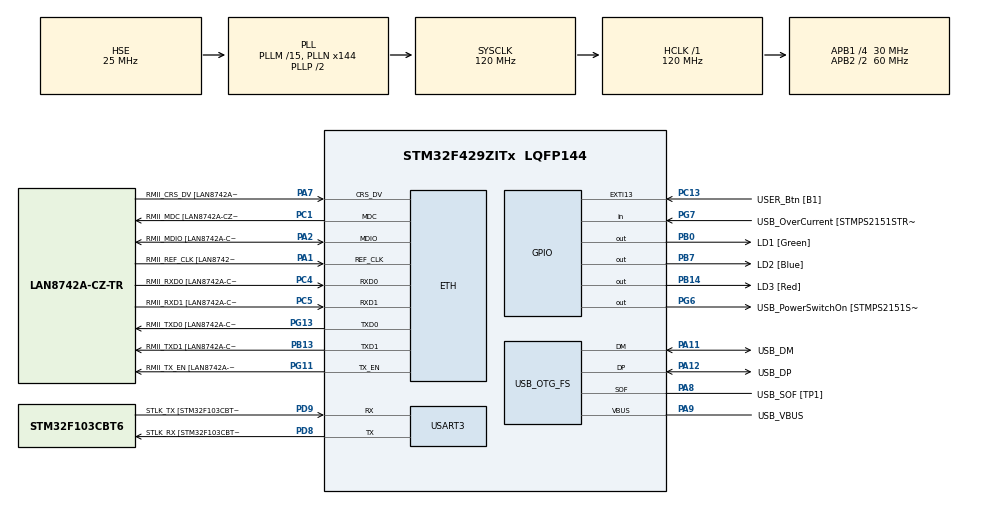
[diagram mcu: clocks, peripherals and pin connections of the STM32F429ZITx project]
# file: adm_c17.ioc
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ETH.MediaInterface=HAL_ETH_RMII_MODE
ETH.PHY_Name=LAN8742A_PHY_ADDRESS
ETH.PHY_Value=0
ETH.PhyAddress=0
Mcu.Family=STM32F4
Mcu.Name=STM32F429ZITx
Mcu.Package=LQFP144
NVIC.PriorityGroup=NVIC_PRIORITYGROUP_4
PA0/WKUP.Mode=SYS_WakeUp0
PA0/WKUP.Signal=SYS_WKUP
PA1.GPIO_Label=RMII_REF_CLK [LAN8742A-CZ-TR_REFCLK0]
PA1.Mode=RMII
PA1.Signal=ETH_REF_CLK
PA10.GPIO_Label=USB_ID
PA10.Signal=USB_OTG_FS_ID
PA11.GPIO_Label=USB_DM
PA11.Mode=Device_Only
PA11.Signal=USB_OTG_FS_DM
PA12.GPIO_Label=USB_DP
PA12.Mode=Device_Only
PA12.Signal=USB_OTG_FS_DP
PA13.GPIO_Label=TMS
PA13.Mode=Serial_Wire
PA13.Signal=SYS_JTMS-SWDIO
PA14.GPIO_Label=TCK
PA14.Mode=Serial_Wire
PA14.Signal=SYS_JTCK-SWCLK
PA2.GPIO_Label=RMII_MDIO [LAN8742A-CZ-TR_MDIO]
PA2.Mode=RMII
PA2.Signal=ETH_MDIO
PA7.GPIO_Label=RMII_CRS_DV [LAN8742A-CZ-TR_CRS_DV]
PA7.Mode=RMII
PA7.Signal=ETH_CRS_DV
PA8.GPIO_Label=USB_SOF [TP1]
PA8.Mode=Activate_SOF_FS
PA8.Signal=USB_OTG_FS_SOF
PA9.GPIO_Label=USB_VBUS
PA9.Mode=Activate_VBUS
PA9.Signal=USB_OTG_FS_VBUS
PB0.GPIO_Label=LD1 [Green]
PB0.Signal=GPIO_Output
PB13.GPIO_Label=RMII_TXD1 [LAN8742A-CZ-TR_TXD1]
PB13.Mode=RMII
PB13.Signal=ETH_TXD1
PB14.GPIO_Label=LD3 [Red]
PB14.Signal=GPIO_Output
PB7.GPIO_Label=LD2 [Blue]
PB7.Signal=GPIO_Output
PC1.GPIO_Label=RMII_MDC [LAN8742A-CZ-TR_MDC]
PC1.Mode=RMII
PC1.Signal=ETH_MDC
PC13.GPIO_Label=USER_Btn [B1]
PC13.Signal=GPXTI13
PC14/OSC32_IN.Mode=LSE-External-Oscillator
PC14/OSC32_IN.Signal=RCC_OSC32_IN
PC15/OSC32_OUT.Mode=LSE-External-Oscillator
PC15/OSC32_OUT.Signal=RCC_OSC32_OUT
PC4.GPIO_Label=RMII_RXD0 [LAN8742A-CZ-TR_RXD0]
PC4.Mode=RMII
PC4.Signal=ETH_RXD0
PC5.GPIO_Label=RMII_RXD1 [LAN8742A-CZ-TR_RXD1]
PC5.Mode=RMII
PC5.Signal=ETH_RXD1
PD8.GPIO_Label=STLK_RX [STM32F103CBT6_PA3]
PD8.Mode=Asynchronous
PD8.Signal=USART3_TX
PD9.GPIO_Label=STLK_TX [STM32F103CBT6_PA2]
PD9.Mode=Asynchronous
PD9.Signal=USART3_RX
PG11.GPIO_Label=RMII_TX_EN [LAN8742A-CZ-TR_TXEN]
PG11.Mode=RMII
PG11.Signal=ETH_TX_EN
PG13.GPIO_Label=RMII_TXD0 [LAN8742A-CZ-TR_TXD0]
PG13.Mode=RMII
PG13.Signal=ETH_TXD0
PG6.GPIO_Label=USB_PowerSwitchOn [STMPS2151STR_EN]
PG6.Signal=GPIO_Output
PG7.GPIO_Label=USB_OverCurrent [STMPS2151STR_FAULT]
PG7.Signal=GPIO_Input
PH0/OSC_IN.Mode=HSE-External-Clock-Source
PH0/OSC_IN.Signal=RCC_OSC_IN
PH1/OSC_OUT.Mode=HSE-External-Clock-Source
PH1/OSC_OUT.Signal=RCC_OSC_OUT
ProjectManager.HeapSize=0x200
ProjectManager.StackSize=0x400
ProjectManager.TargetToolchain=STM32CubeIDE
RCC.48MHZClocksFreq_Value=48000000
RCC.AHBFreq_Value=120000000
RCC.APB1CLKDivider=RCC_HCLK_DIV4
RCC.APB1Freq_Value=30000000
RCC.APB1TimFreq_Value=60000000
RCC.APB2CLKDivider=RCC_HCLK_DIV2
RCC.APB2Freq_Value=60000000
RCC.APB2TimFreq_Value=120000000
RCC.CortexFreq_Value=120000000
RCC.HCLKFreq_Value=120000000
RCC.HSE_VALUE=25000000
RCC.HSI_VALUE=16000000
RCC.PLLM=15
RCC.PLLN=144
RCC.PLLQ=5
RCC.SYSCLKFreq_VALUE=120000000
RCC.SYSCLKSource=RCC_SYSCLKSOURCE_PLLCLK
RCC.VCOOutputFreq_Value=240000000
USART3.VirtualMode=VM_ASYNC
USB_OTG_FS.VirtualMode=Device_Only
board=NUCLEO-F429ZI

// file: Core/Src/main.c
/* USER CODE BEGIN Header */
/**
  ******************************************************************************
  * @file           : main.c
  * @brief          : Main program body
  ******************************************************************************
  * @attention
  *
  * Copyright (c) 2022 STMicroelectronics.
  * All rights reserved.
  *
  * This software is licensed under terms that can be found in the LICENSE file
  * in the root directory of this software component.
  * If no LICENSE file comes with this software, it is provided AS-IS.
  *
  ******************************************************************************
  */
/* USER CODE END Header */
#include "main.h"
#include "string.h"

/* USER CODE BEGIN Includes */
#include "asm_func.h"
#include "ejercicios.h"

/* USER CODE END Includes */

ETH_TxPacketConfig TxConfig;
ETH_DMADescTypeDef  DMARxDscrTab[ETH_RX_DESC_CNT]; /* Ethernet Rx DMA Descriptors */
ETH_DMADescTypeDef  DMATxDscrTab[ETH_TX_DESC_CNT]; /* Ethernet Tx DMA Descriptors */

 ETH_HandleTypeDef heth;

UART_HandleTypeDef huart3;

PCD_HandleTypeDef hpcd_USB_OTG_FS;

void SystemClock_Config(void);
static void MX_GPIO_Init(void);
static void MX_ETH_Init(void);
static void MX_USART3_UART_Init(void);
static void MX_USB_OTG_FS_PCD_Init(void);

/* USER CODE BEGIN 0 */
static void PrivilegiosSVC (void)
{
    // Obtiene valor del registro de 32 bits del procesador llamado "control".
    // El registro guarda los siguientes estados:
    // bit 2: Uso de FPU en el contexto actual. Usado=1, no usado=0.
    // bit 1: Mapeo del stack pointer(sp). MSP=0, PSP=1.
    // bit 0: Modo de ejecucion en Thread. Privilegiado=0, No privilegiado=1.
    //        Recordar que este valor solo se usa en modo Thread. Las
    //        interrupciones siempre se ejecutan en modo Handler con total
    //        privilegio.
    uint32_t x = __get_CONTROL ();

    // Actividad de debug: Ver registro "control" y valor de variable "x".
    //__BKPT (0);

    x |= 1;
    // bit 0 a modo No privilegiado.
    __set_CONTROL (x);

    // En este punto se estaria ejecutando en modo No privilegiado.
    // Lectura del registro "control" para confirmar.
    x = __get_CONTROL ();

    // Actividad de debug: Ver registro "control" y valor de variable "x".
    //__BKPT (0);

    x &= ~1u;
    // Se intenta volver a modo Privilegiado (bit 0, valor 0).
    __set_CONTROL (x);

    // Confirma que esta operacion es ignorada por estar ejecutandose en modo
    // Thread no privilegiado.
    x = __get_CONTROL ();

    // Actividad de debug: Ver registro "control" y valor de variable "x".
    //__BKPT (0);

    // En este punto, ejecutando en modo Thread no privilegiado, la unica forma
    // de volver a modo privilegiado o de realizar cualquier cambio que requiera
    // modo privilegiado, es pidiendo ese servicio a un hipotetico sistema
    // opertivo de tiempo real.
    // Para esto se invoca por software a la interrupcion SVC (Supervisor Call)
    // utilizando la instruccion "svc".
    // No hay intrinsics para realizar esta tarea. Para utilizar la instruccion
    // es necesario implementar una funcion en assembler. Ver el archivo
    // asm_func.S.
    asm_svc ();

    // El sistema operativo (el handler de SVC) deberia haber devuelto el modo
    // de ejecucion de Thread a privilegiado (bit 0 en valor 0).
    x = __get_CONTROL ();

    // Fin del ejemplo de SVC
}
/* USER CODE END 0 */

int main(void)
{
  /* USER CODE BEGIN 1 */
	  /* USER CODE BEGIN 1 */
	   uint32_t escalar_test = 45 ;
	   /// vectores de entrada para los test !
	   // para uso con memcpy  en algunos casos puntuales !
	   uint32_t vector_relleno_32[3] = {20 ,21,22} ;
	   uint16_t vector_relleno_16[3] = {20,21,22} ;

	   uint32_t vector_in_test_c_32  [3] ={0xFFFFFFFF,21,22 } ;
	   uint32_t vector_out_test_c_32 [3] ;
	   uint32_t vector_in_test_asm_32  [3] ={0xFFFFFFFF,21,22 } ;
	   uint32_t vector_out_test_asm_32 [3] ;

	   uint16_t vector_in_test_c_16 [3] = {0xFFFF ,21,33} ;
	   uint16_t vector_out_test_c_16 [3] ;
	   uint16_t vector_in_test_asm_16 [3] = {0xFFFF,21,33} ;
	   uint16_t vector_out_test_asm_16[3]  ;

	   int32_t pack32_16[3] = {-5, 65600,4122 } ;
	   int16_t pack16[3] ,pack16_asm[3];
	   int32_t vector_max [10] = {1,2,3,45,32,44,33,22,22,11 } ;
	   uint32_t ind_max ;
	   /* USER CODE END 1 */

  /* USER CODE END 1 */

  /* MCU Configuration--------------------------------------------------------*/

  /* Reset of all peripherals, Initializes the Flash interface and the Systick. */
  HAL_Init();

  /* Configure the system clock */
  SystemClock_Config();

  /* Initialize all configured peripherals */
  MX_GPIO_Init();
  MX_ETH_Init();
  MX_USART3_UART_Init();
  MX_USB_OTG_FS_PCD_Init();
  /* USER CODE BEGIN 2 */
  PrivilegiosSVC ();
  // ejercicio 1
  asm_zeros(vector_out_test_asm_32, 3) ;
  zeros(vector_out_test_c_32, 3) ;
  // fin ejercicio 1
  /// ejercicio 2
  asm_productoEscalar32(vector_in_test_asm_32, vector_out_test_asm_32, 3, escalar_test) ;
  productoEscalar32(vector_in_test_c_32, vector_out_test_c_32, 3, escalar_test) ;
  /// fin ejercicio 2
  /// ejercicio 3
  productoEscalar16(vector_in_test_c_16, vector_out_test_c_16, 3, escalar_test) ;
  asm_productoEscalar16(vector_in_test_asm_16,vector_out_test_asm_16, 3,escalar_test ) ;
  /// fin ejercicio 3
  /// ejercicio 4
  productoEscalar12(vector_in_test_c_16, vector_out_test_c_16, 3, escalar_test) ;
  asm_productoEscalar12(vector_in_test_c_16, vector_out_test_c_16, 3, escalar_test) ;

  /// fin ejercicio 4
  /// ejercicio 5
  ///
  ///

  /// fin ejercicio 5
  /// ejercicio 6
  pack32to16 (pack32_16, pack16, 3);
  asm_pack32to16 (pack32_16, pack16_asm, 3);

  ///fin ejercicio 6
  /// ejercicio 7
  ind_max     = max(vector_max,10) ;
  ind_max_asm = asm_max(vector_max,10)  ;

  /// fin ejercicio 7

  /* USER CODE END 2 */

  /* Infinite loop */
  while (1)
  {

  }
}

void SystemClock_Config(void)
{
  RCC_OscInitTypeDef RCC_OscInitStruct = {0};
  RCC_ClkInitTypeDef RCC_ClkInitStruct = {0};

  /** Configure the main internal regulator output voltage
  */
  __HAL_RCC_PWR_CLK_ENABLE();
  __HAL_PWR_VOLTAGESCALING_CONFIG(PWR_REGULATOR_VOLTAGE_SCALE3);

  /** Initializes the RCC Oscillators according to the specified parameters
  * in the RCC_OscInitTypeDef structure.
  */
  RCC_OscInitStruct.OscillatorType = RCC_OSCILLATORTYPE_HSE;
  RCC_OscInitStruct.HSEState = RCC_HSE_BYPASS;
  RCC_OscInitStruct.PLL.PLLState = RCC_PLL_ON;
  RCC_OscInitStruct.PLL.PLLSource = RCC_PLLSOURCE_HSE;
  RCC_OscInitStruct.PLL.PLLM = 15;
  RCC_OscInitStruct.PLL.PLLN = 144;
  RCC_OscInitStruct.PLL.PLLP = RCC_PLLP_DIV2;
  RCC_OscInitStruct.PLL.PLLQ = 5;
  if (HAL_RCC_OscConfig(&RCC_OscInitStruct) != HAL_OK)
  {
    Error_Handler();
  }

  /** Initializes the CPU, AHB and APB buses clocks
  */
  RCC_ClkInitStruct.ClockType = RCC_CLOCKTYPE_HCLK|RCC_CLOCKTYPE_SYSCLK
                              |RCC_CLOCKTYPE_PCLK1|RCC_CLOCKTYPE_PCLK2;
  RCC_ClkInitStruct.SYSCLKSource = RCC_SYSCLKSOURCE_PLLCLK;
  RCC_ClkInitStruct.AHBCLKDivider = RCC_SYSCLK_DIV1;
  RCC_ClkInitStruct.APB1CLKDivider = RCC_HCLK_DIV4;
  RCC_ClkInitStruct.APB2CLKDivider = RCC_HCLK_DIV2;

  if (HAL_RCC_ClockConfig(&RCC_ClkInitStruct, FLASH_LATENCY_3) != HAL_OK)
  {
    Error_Handler();
  }
}

static void MX_ETH_Init(void)
{

   static uint8_t MACAddr[6];

  heth.Instance = ETH;
  MACAddr[0] = 0x00;
  MACAddr[1] = 0x80;
  MACAddr[2] = 0xE1;
  MACAddr[3] = 0x00;
  MACAddr[4] = 0x00;
  MACAddr[5] = 0x00;
  heth.Init.MACAddr = &MACAddr[0];
  heth.Init.MediaInterface = HAL_ETH_RMII_MODE;
  heth.Init.TxDesc = DMATxDscrTab;
  heth.Init.RxDesc = DMARxDscrTab;
  heth.Init.RxBuffLen = 1524;

  if (HAL_ETH_Init(&heth) != HAL_OK)
  {
    Error_Handler();
  }

  memset(&TxConfig, 0 , sizeof(ETH_TxPacketConfig));
  TxConfig.Attributes = ETH_TX_PACKETS_FEATURES_CSUM | ETH_TX_PACKETS_FEATURES_CRCPAD;
  TxConfig.ChecksumCtrl = ETH_CHECKSUM_IPHDR_PAYLOAD_INSERT_PHDR_CALC;
  TxConfig.CRCPadCtrl = ETH_CRC_PAD_INSERT;

}

static void MX_USART3_UART_Init(void)
{

  huart3.Instance = USART3;
  huart3.Init.BaudRate = 115200;
  huart3.Init.WordLength = UART_WORDLENGTH_8B;
  huart3.Init.StopBits = UART_STOPBITS_1;
  huart3.Init.Parity = UART_PARITY_NONE;
  huart3.Init.Mode = UART_MODE_TX_RX;
  huart3.Init.HwFlowCtl = UART_HWCONTROL_NONE;
  huart3.Init.OverSampling = UART_OVERSAMPLING_16;
  if (HAL_UART_Init(&huart3) != HAL_OK)
  {
    Error_Handler();
  }

}

static void MX_USB_OTG_FS_PCD_Init(void)
{

  hpcd_USB_OTG_FS.Instance = USB_OTG_FS;
  hpcd_USB_OTG_FS.Init.dev_endpoints = 4;
  hpcd_USB_OTG_FS.Init.speed = PCD_SPEED_FULL;
  hpcd_USB_OTG_FS.Init.dma_enable = DISABLE;
  hpcd_USB_OTG_FS.Init.phy_itface = PCD_PHY_EMBEDDED;
  hpcd_USB_OTG_FS.Init.Sof_enable = ENABLE;
  hpcd_USB_OTG_FS.Init.low_power_enable = DISABLE;
  hpcd_USB_OTG_FS.Init.lpm_enable = DISABLE;
  hpcd_USB_OTG_FS.Init.vbus_sensing_enable = ENABLE;
  hpcd_USB_OTG_FS.Init.use_dedicated_ep1 = DISABLE;
  if (HAL_PCD_Init(&hpcd_USB_OTG_FS) != HAL_OK)
  {
    Error_Handler();
  }

}

static void MX_GPIO_Init(void)
{
  GPIO_InitTypeDef GPIO_InitStruct = {0};

  /* GPIO Ports Clock Enable */
  __HAL_RCC_GPIOC_CLK_ENABLE();
  __HAL_RCC_GPIOH_CLK_ENABLE();
  __HAL_RCC_GPIOA_CLK_ENABLE();
  __HAL_RCC_GPIOB_CLK_ENABLE();
  __HAL_RCC_GPIOD_CLK_ENABLE();
  __HAL_RCC_GPIOG_CLK_ENABLE();

  /*Configure GPIO pin Output Level */
  HAL_GPIO_WritePin(GPIOB, LD1_Pin|LD3_Pin|LD2_Pin, GPIO_PIN_RESET);

  /*Configure GPIO pin Output Level */
  HAL_GPIO_WritePin(USB_PowerSwitchOn_GPIO_Port, USB_PowerSwitchOn_Pin, GPIO_PIN_RESET);

  /*Configure GPIO pin : USER_Btn_Pin */
  GPIO_InitStruct.Pin = USER_Btn_Pin;
  GPIO_InitStruct.Mode = GPIO_MODE_IT_RISING;
  GPIO_InitStruct.Pull = GPIO_NOPULL;
  HAL_GPIO_Init(USER_Btn_GPIO_Port, &GPIO_InitStruct);

  /*Configure GPIO pins : LD1_Pin LD3_Pin LD2_Pin */
  GPIO_InitStruct.Pin = LD1_Pin|LD3_Pin|LD2_Pin;
  GPIO_InitStruct.Mode = GPIO_MODE_OUTPUT_PP;
  GPIO_InitStruct.Pull = GPIO_NOPULL;
  GPIO_InitStruct.Speed = GPIO_SPEED_FREQ_LOW;
  HAL_GPIO_Init(GPIOB, &GPIO_InitStruct);

  /*Configure GPIO pin : USB_PowerSwitchOn_Pin */
  GPIO_InitStruct.Pin = USB_PowerSwitchOn_Pin;
  GPIO_InitStruct.Mode = GPIO_MODE_OUTPUT_PP;
  GPIO_InitStruct.Pull = GPIO_NOPULL;
  GPIO_InitStruct.Speed = GPIO_SPEED_FREQ_LOW;
  HAL_GPIO_Init(USB_PowerSwitchOn_GPIO_Port, &GPIO_InitStruct);

  /*Configure GPIO pin : USB_OverCurrent_Pin */
  GPIO_InitStruct.Pin = USB_OverCurrent_Pin;
  GPIO_InitStruct.Mode = GPIO_MODE_INPUT;
  GPIO_InitStruct.Pull = GPIO_NOPULL;
  HAL_GPIO_Init(USB_OverCurrent_GPIO_Port, &GPIO_InitStruct);

}

void Error_Handler(void)
{
  __disable_irq();
  while (1)
  {
  }
}
